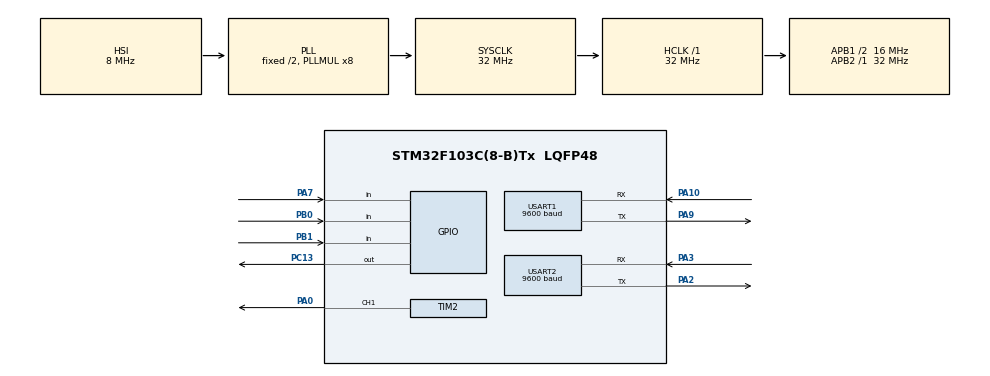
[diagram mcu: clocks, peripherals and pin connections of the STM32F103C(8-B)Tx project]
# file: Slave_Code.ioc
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Mcu.Family=STM32F1
Mcu.Name=STM32F103C(8-B)Tx
Mcu.Package=LQFP48
NVIC.PriorityGroup=NVIC_PRIORITYGROUP_4
NVIC.USART1_IRQn=true\:0\:0\:false\:false\:true\:true\:true
NVIC.USART2_IRQn=true\:0\:0\:false\:false\:true\:true\:true
PA0-WKUP.Signal=S_TIM2_CH1_ETR
PA10.Mode=Asynchronous
PA10.Signal=USART1_RX
PA13.Mode=Serial_Wire
PA13.Signal=SYS_JTMS-SWDIO
PA14.Mode=Serial_Wire
PA14.Signal=SYS_JTCK-SWCLK
PA2.Mode=Asynchronous
PA2.Signal=USART2_TX
PA3.Mode=Asynchronous
PA3.Signal=USART2_RX
PA7.GPIO_PuPd=GPIO_PULLDOWN
PA7.Signal=GPIO_Input
PA9.Mode=Asynchronous
PA9.Signal=USART1_TX
PB0.GPIO_PuPd=GPIO_PULLDOWN
PB0.Signal=GPIO_Input
PB1.GPIO_PuPd=GPIO_PULLDOWN
PB1.Signal=GPIO_Input
PC13-TAMPER-RTC.Signal=GPIO_Output
ProjectManager.HeapSize=0x200
ProjectManager.StackSize=0x400
ProjectManager.TargetToolchain=STM32CubeIDE
RCC.AHBFreq_Value=32000000
RCC.APB1CLKDivider=RCC_HCLK_DIV2
RCC.APB1Freq_Value=16000000
RCC.APB1TimFreq_Value=32000000
RCC.APB2Freq_Value=32000000
RCC.APB2TimFreq_Value=32000000
RCC.HCLKFreq_Value=32000000
RCC.PLLMUL=RCC_PLL_MUL8
RCC.SYSCLKFreq_VALUE=32000000
RCC.SYSCLKSource=RCC_SYSCLKSOURCE_PLLCLK
RCC.USBFreq_Value=32000000
SH.S_TIM2_CH1_ETR.0=TIM2_CH1,PWM Generation1 CH1
TIM1.Period=100
TIM1.Prescaler=32000
TIM2.Channel-PWM\ Generation1\ CH1=TIM_CHANNEL_1
TIM2.Period=455
TIM2.Prescaler=320
TIM2.Pulse-PWM\ Generation1\ CH1=225
USART1.BaudRate=9600
USART1.VirtualMode=VM_ASYNC
USART2.BaudRate=9600
USART2.VirtualMode=VM_ASYNC
VP_TIM1_VS_ClockSourceINT.Mode=Internal
VP_TIM2_VS_ClockSourceINT.Mode=Internal
board=custom

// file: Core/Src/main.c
/* USER CODE BEGIN Header */
/**
  ******************************************************************************
  * @file           : main.c
  * @brief          : Main program body
  ******************************************************************************
  * @attention
  *
  * <h2><center>&copy; Copyright (c) 2020 STMicroelectronics.
  * All rights reserved.</center></h2>
  *
  * This software component is licensed by ST under BSD 3-Clause license,
  * the "License"; You may not use this file except in compliance with the
  * License. You may obtain a copy of the License at:
  *                        opensource.org/licenses/BSD-3-Clause
  *
  ******************************************************************************
  */
/* USER CODE END Header */
#include "main.h"

/* USER CODE BEGIN PTD */
/**
  * @brief 	Struct used for separating screen and slave module.
  */
typedef struct {
	uint8_t msg_i;						/*!< Index for received messages 				*/

	uint8_t msg_flag;					/*!< Message flag to indicate a new message 	*/

	uint8_t rec_buff[MSG_MAX_LEN];		/*!< Buffer for the received message			*/

	UART_HandleTypeDef * used_huart;	/*!< Pointer to the UART struct the module uses */
}t_module;

/* USER CODE END PTD */

/* USER CODE BEGIN PD */

/** @defgroup Used_Peripherials Used Peripherals
  * @{
  */
#define MASTER_UART 				huart1			/*!< UART  peripheral connected to the master 				*/
#define SLAVE_UART 					huart2			/*!< UART  peripheral connected to the slaves 				*/
#define SPEAKER_TIM 				htim2			/*!< Timer peripheral for generating PWM to the speaker		*/
#define MSG_TIM 					htim1			/*!< Timer peripheral used for message timeout checking 	*/
/**
  * @}
  */

/** @defgroup Message_Defines Message Related Defines
  * @{
  */
#define MASTER_I 					0				/*!< The index for the master module 									*/
#define SLAVE_I 					1				/*!< The index for the slave  module 									*/
#define ACK_TIMEOUT 				500				/*!< How long the slave waits for an acknowledge from another slave		*/
#define CMD_MAX_LEN 				3				/*!< How many chars in the message buffer are reserved for the command  */
/**
  * @}
  */

/** @defgroup Button_GPIO Button GPIO Connections and Pins
  * @{
  */
#define BT_GPIO_1 					GPIOA			/*!< GPIO for button 1 */
#define BT_GPIO_2 					GPIOB			/*!< GPIO for button 2 */
#define BT_GPIO_3 					GPIOB			/*!< GPIO for button 3 */

#define BT_PIN_1 					GPIO_PIN_7		/*!< Pin for button 1 */
#define BT_PIN_2 					GPIO_PIN_0		/*!< Pin for button 2 */
#define BT_PIN_3 					GPIO_PIN_1		/*!< Pin for button 3 */
/**
  * @}
  */

/* USER CODE END PD */

TIM_HandleTypeDef htim1;
TIM_HandleTypeDef htim2;

UART_HandleTypeDef huart1;
UART_HandleTypeDef huart2;

void SystemClock_Config(void);
static void MX_GPIO_Init(void);
static void MX_USART1_UART_Init(void);
static void MX_USART2_UART_Init(void);
static void MX_TIM1_Init(void);
static void MX_TIM2_Init(void);

/* USER CODE BEGIN 0 */
/** @brief rx_buff contains the incoming char */
uint8_t rx_buff[1];
/** @brief flag that enables main */
uint8_t main_flag = 0;
/** @brief the address of this slave */
uint8_t slave_adr = 0;
/** @brief m_buff are the two buffers for screen/slave message handling*/
t_module m_buff[2];

/* USER CODE END 0 */

int main(void)
{

  /* MCU Configuration--------------------------------------------------------*/

  /* Reset of all peripherals, Initializes the Flash interface and the Systick. */
  HAL_Init();

  /* Configure the system clock */
  SystemClock_Config();

  /* Initialize all configured peripherals */
  MX_GPIO_Init();
  MX_USART1_UART_Init();
  MX_USART2_UART_Init();
  MX_TIM1_Init();
  MX_TIM2_Init();
  /* USER CODE BEGIN 2 */
  m_buff[MASTER_I].used_huart = &MASTER_UART;
  m_buff[SLAVE_I].used_huart  = &SLAVE_UART;

  HAL_UART_Receive_IT(&MASTER_UART, rx_buff, 1);
  HAL_UART_Receive_IT(&SLAVE_UART , rx_buff, 1);
  /* USER CODE END 2 */

  /* Infinite loop */
  while (1)
  {

    /* USER CODE BEGIN 3 */
	if(main_flag)
	{
		main_flag = 0;
		m_buff[MASTER_I].msg_flag = 0;
		/** <h2><center>Local Variables</h2></center> */
		/** <b>char reply</b>
				 Container for the reply message to the master.*/
		char reply[MSG_MAX_LEN];

		/** <b>char m_mess</b>
				 Container for messages to the next slave.*/
		char m_mess[MSG_MAX_LEN];

		/** <b>char cmd</b>
				 Container for the dissected command.*/
		char cmd[CMD_MAX_LEN+1];

		/** <b>char sec_adr</b>
				 Used to store the secondary address stored in some messages.*/
		char sec_adr;

		// Dissects the message that arrived from the master side.
		char adr = DissectCommand(cmd, &sec_adr);
		if(adr == 0)
		{
			/** <h2><center>Command Functions and Replies</h2></center> */
			/** <h3>Addressing Command</h3>
			 *  Format: 			<tt>0 ADR x</tt>\n
			 *  Forward to Slave: 	<tt>0 ADR x+1</tt>\n
			 *  Reply to Master:	<tt>SLAVE x</tt>, But only if Reply to Slave didn't receive ACK.\n
			 *  					Will copy the address specified in @c x into its own address buffer @c slave_adr.\n
			 *  					Will then send command with @c x+1 to the next slave.
			 *  					If an @c ACK isn't received in time, will reply to the master instead.\n
			 */
			if(strcmp(cmd, "ADR") == 0)
			{
				slave_adr = sec_adr;
				sprintf(m_mess, "0 ADR %d\n", slave_adr+1);
				if(SendMessage(SLAVE_I, m_mess) == 0)
				{
					sprintf(reply, "SLAVE %d\n", slave_adr);
					SendMessage(MASTER_I, reply);
				}
			}
			/** <h3>Turn On Command</h3>
			 *  Format:				<tt>0 ON n</tt>\n
			 *  Forward to Slave:	<tt>0 ON n</tt>\n
			 *  Reply to Master:	<tt>PRESSED x</tt> But only when the button is pressed.\n
			 *  					Will activate the buttons and if @c slave_adr is the same as @c n will activate buzzer.
			 *  					Always forwards the message to the next slave. Doesn't require ACK checking so uses HAL.\n
			 *  					Will deactivate if a message is received from the master, or send <tt>PRESSED x</tt>.\n
			 *
						 */
			else if(strcmp(cmd, "ON") == 0)
			{
				// Sends message over to the next slave
				sprintf(m_mess, "0 ON %d\n", sec_adr);
				HAL_UART_Transmit(&SLAVE_UART, (uint8_t* ) m_mess, strlen(m_mess), 100);

				// Activates the speaker PWM
				if(sec_adr == slave_adr)
					HAL_TIM_PWM_Start(&SPEAKER_TIM, TIM_CHANNEL_1);

				// Checks if the button is being pressed
				char pressed = 0;
				while(pressed == GPIO_PIN_RESET && main_flag == 0)
					pressed = CheckButton();

				// Waits until the button is released
				while(CheckButton());

				// Only check if the button has been pressed if no message has been received yet.
				// Uses Transmit instead of SendMessage because master communication doesn't need ACK
				if(pressed)
				{
					HAL_Delay(50);
					sprintf(reply, "PRESSED %d\n", slave_adr);
					HAL_UART_Transmit(&MASTER_UART, (uint8_t*) reply, strlen(reply), 100);
				}

				// Turn the speaker Off
				HAL_TIM_PWM_Stop(&SPEAKER_TIM, TIM_CHANNEL_1);
			}

			/** <h3>Turn Off Command</h3>
			 * 	Format:				<tt>0 OFF</tt>\n
			 * 	Forward to Slave:	<tt>0 OFF</tt>\n
			 * 	Reply to Master	:	None\n
			 * 						Will copy the message to the next slaves.
			 * 						Used as placeholder to turn off the slaves after the ON command has been sent.\n
			 *
			 */
			else if(strcmp(cmd, "OFF") == 0)
				SendMessage(SLAVE_I, "0 OFF\n");
		}
		else
		{
			/** <h3>Verify Connection Command</h3>
			 * 	Format:				<tt>x ASK</tt>\n
			 * 	Forward to Slave:	None\n
			 * 	Reply to Master :	<tt>ANS x</tt>\n
			 * 						Will reply to the master personally to verify the connection.\n
			 *
			 */
			if(strcmp((char*)cmd, "ASK") == 0)
			{
				sprintf(reply, "ANS %d\n", slave_adr);
				HAL_Delay(50); 					// The delay is because master doesn't always catch the message in time.
				SendMessage(MASTER_I, reply);
			}
		}

	}
  }
  /* USER CODE END 3 */
}

void SystemClock_Config(void)
{
  RCC_OscInitTypeDef RCC_OscInitStruct = {0};
  RCC_ClkInitTypeDef RCC_ClkInitStruct = {0};

  /** Initializes the RCC Oscillators according to the specified parameters
  * in the RCC_OscInitTypeDef structure.
  */
  RCC_OscInitStruct.OscillatorType = RCC_OSCILLATORTYPE_HSI;
  RCC_OscInitStruct.HSIState = RCC_HSI_ON;
  RCC_OscInitStruct.HSICalibrationValue = RCC_HSICALIBRATION_DEFAULT;
  RCC_OscInitStruct.PLL.PLLState = RCC_PLL_ON;
  RCC_OscInitStruct.PLL.PLLSource = RCC_PLLSOURCE_HSI_DIV2;
  RCC_OscInitStruct.PLL.PLLMUL = RCC_PLL_MUL8;
  if (HAL_RCC_OscConfig(&RCC_OscInitStruct) != HAL_OK)
  {
    Error_Handler();
  }
  /** Initializes the CPU, AHB and APB buses clocks
  */
  RCC_ClkInitStruct.ClockType = RCC_CLOCKTYPE_HCLK|RCC_CLOCKTYPE_SYSCLK
                              |RCC_CLOCKTYPE_PCLK1|RCC_CLOCKTYPE_PCLK2;
  RCC_ClkInitStruct.SYSCLKSource = RCC_SYSCLKSOURCE_PLLCLK;
  RCC_ClkInitStruct.AHBCLKDivider = RCC_SYSCLK_DIV1;
  RCC_ClkInitStruct.APB1CLKDivider = RCC_HCLK_DIV2;
  RCC_ClkInitStruct.APB2CLKDivider = RCC_HCLK_DIV1;

  if (HAL_RCC_ClockConfig(&RCC_ClkInitStruct, FLASH_LATENCY_1) != HAL_OK)
  {
    Error_Handler();
  }
}

static void MX_TIM1_Init(void)
{

  TIM_ClockConfigTypeDef sClockSourceConfig = {0};
  TIM_MasterConfigTypeDef sMasterConfig = {0};

  htim1.Instance = TIM1;
  htim1.Init.Prescaler = 32000;
  htim1.Init.CounterMode = TIM_COUNTERMODE_UP;
  htim1.Init.Period = 100;
  htim1.Init.ClockDivision = TIM_CLOCKDIVISION_DIV1;
  htim1.Init.RepetitionCounter = 0;
  htim1.Init.AutoReloadPreload = TIM_AUTORELOAD_PRELOAD_DISABLE;
  if (HAL_TIM_Base_Init(&htim1) != HAL_OK)
  {
    Error_Handler();
  }
  sClockSourceConfig.ClockSource = TIM_CLOCKSOURCE_INTERNAL;
  if (HAL_TIM_ConfigClockSource(&htim1, &sClockSourceConfig) != HAL_OK)
  {
    Error_Handler();
  }
  sMasterConfig.MasterOutputTrigger = TIM_TRGO_RESET;
  sMasterConfig.MasterSlaveMode = TIM_MASTERSLAVEMODE_DISABLE;
  if (HAL_TIMEx_MasterConfigSynchronization(&htim1, &sMasterConfig) != HAL_OK)
  {
    Error_Handler();
  }

}

static void MX_TIM2_Init(void)
{

  TIM_ClockConfigTypeDef sClockSourceConfig = {0};
  TIM_MasterConfigTypeDef sMasterConfig = {0};
  TIM_OC_InitTypeDef sConfigOC = {0};

  htim2.Instance = TIM2;
  htim2.Init.Prescaler = 320;
  htim2.Init.CounterMode = TIM_COUNTERMODE_UP;
  htim2.Init.Period = 455;
  htim2.Init.ClockDivision = TIM_CLOCKDIVISION_DIV1;
  htim2.Init.AutoReloadPreload = TIM_AUTORELOAD_PRELOAD_DISABLE;
  if (HAL_TIM_Base_Init(&htim2) != HAL_OK)
  {
    Error_Handler();
  }
  sClockSourceConfig.ClockSource = TIM_CLOCKSOURCE_INTERNAL;
  if (HAL_TIM_ConfigClockSource(&htim2, &sClockSourceConfig) != HAL_OK)
  {
    Error_Handler();
  }
  if (HAL_TIM_PWM_Init(&htim2) != HAL_OK)
  {
    Error_Handler();
  }
  sMasterConfig.MasterOutputTrigger = TIM_TRGO_RESET;
  sMasterConfig.MasterSlaveMode = TIM_MASTERSLAVEMODE_DISABLE;
  if (HAL_TIMEx_MasterConfigSynchronization(&htim2, &sMasterConfig) != HAL_OK)
  {
    Error_Handler();
  }
  sConfigOC.OCMode = TIM_OCMODE_PWM1;
  sConfigOC.Pulse = 225;
  sConfigOC.OCPolarity = TIM_OCPOLARITY_HIGH;
  sConfigOC.OCFastMode = TIM_OCFAST_DISABLE;
  if (HAL_TIM_PWM_ConfigChannel(&htim2, &sConfigOC, TIM_CHANNEL_1) != HAL_OK)
  {
    Error_Handler();
  }
  HAL_TIM_MspPostInit(&htim2);

}

static void MX_USART1_UART_Init(void)
{

  huart1.Instance = USART1;
  huart1.Init.BaudRate = 9600;
  huart1.Init.WordLength = UART_WORDLENGTH_8B;
  huart1.Init.StopBits = UART_STOPBITS_1;
  huart1.Init.Parity = UART_PARITY_NONE;
  huart1.Init.Mode = UART_MODE_TX_RX;
  huart1.Init.HwFlowCtl = UART_HWCONTROL_NONE;
  huart1.Init.OverSampling = UART_OVERSAMPLING_16;
  if (HAL_UART_Init(&huart1) != HAL_OK)
  {
    Error_Handler();
  }

}

static void MX_USART2_UART_Init(void)
{

  huart2.Instance = USART2;
  huart2.Init.BaudRate = 9600;
  huart2.Init.WordLength = UART_WORDLENGTH_8B;
  huart2.Init.StopBits = UART_STOPBITS_1;
  huart2.Init.Parity = UART_PARITY_NONE;
  huart2.Init.Mode = UART_MODE_TX_RX;
  huart2.Init.HwFlowCtl = UART_HWCONTROL_NONE;
  huart2.Init.OverSampling = UART_OVERSAMPLING_16;
  if (HAL_UART_Init(&huart2) != HAL_OK)
  {
    Error_Handler();
  }

}

static void MX_GPIO_Init(void)
{
  GPIO_InitTypeDef GPIO_InitStruct = {0};

  /* GPIO Ports Clock Enable */
  __HAL_RCC_GPIOC_CLK_ENABLE();
  __HAL_RCC_GPIOA_CLK_ENABLE();
  __HAL_RCC_GPIOB_CLK_ENABLE();

  /*Configure GPIO pin Output Level */
  HAL_GPIO_WritePin(GPIOC, GPIO_PIN_13, GPIO_PIN_RESET);

  /*Configure GPIO pin : PC13 */
  GPIO_InitStruct.Pin = GPIO_PIN_13;
  GPIO_InitStruct.Mode = GPIO_MODE_OUTPUT_PP;
  GPIO_InitStruct.Pull = GPIO_NOPULL;
  GPIO_InitStruct.Speed = GPIO_SPEED_FREQ_LOW;
  HAL_GPIO_Init(GPIOC, &GPIO_InitStruct);

  /*Configure GPIO pin : PA7 */
  GPIO_InitStruct.Pin = GPIO_PIN_7;
  GPIO_InitStruct.Mode = GPIO_MODE_INPUT;
  GPIO_InitStruct.Pull = GPIO_PULLDOWN;
  HAL_GPIO_Init(GPIOA, &GPIO_InitStruct);

  /*Configure GPIO pins : PB0 PB1 */
  GPIO_InitStruct.Pin = GPIO_PIN_0|GPIO_PIN_1;
  GPIO_InitStruct.Mode = GPIO_MODE_INPUT;
  GPIO_InitStruct.Pull = GPIO_PULLDOWN;
  HAL_GPIO_Init(GPIOB, &GPIO_InitStruct);

}

/* USER CODE BEGIN 4 */
/**
 * @fn void HAL_UART_RxCpltCallback(UART_HandleTypeDef*)
 * @brief Called when a character is received from a uart.
 * 		  This char is stored as an array of rx_buff, with an index of 1.
 * 		  Will put the char in the correct buffer and check if the message is complete.
 * 		  Will reactivate the uart after char is handled.
 * @pre	  UARTS are turned on and waiting for interrupt.
 * @post  Char is stored and UART called under interrupt again.
 * @param huart The huart that called the callback
 */
void HAL_UART_RxCpltCallback(UART_HandleTypeDef *huart)
{
	// Selects the correct module struct to copy the char into.
	// This is marked by "ix" which is index.
	uint8_t ix;
	if(huart == m_buff[MASTER_I].used_huart)
		ix = MASTER_I;

	else if(huart == m_buff[SLAVE_I].used_huart)
		ix = SLAVE_I;

	else
	{
		HAL_UART_Receive_IT(huart, rx_buff, 1);		// Always has to be called after finishing the callback
		return;
	}
	// Currently there exists a bug where the master sends out a null character after initializing.
	// This is used to capture and throw away said null character, while the bug still exists.
	if(rx_buff[0] == 0)
	{
		HAL_UART_Receive_IT(huart, rx_buff, 1);
		return;
	}

	// Used when message is out of sync with buffer size
	static uint8_t OOS_check = 0;
	if(OOS_check)
	{
		if(rx_buff[0] == '\n')
			OOS_check = 0;
	}

	// Places new byte into global array
	else if(m_buff[ix].msg_i < MSG_MAX_LEN)
	{
		// Once a new message has started, delete the old message
		if(m_buff[ix].msg_i == 0)
		{
			m_buff[ix].msg_flag = 0;
			memset(m_buff[ix].rec_buff, 0, sizeof(m_buff[ix].rec_buff));
		}

		// Copying of new byte
		m_buff[ix].rec_buff[m_buff[ix].msg_i] = rx_buff[0];

		// Check if message is complete
		if(rx_buff[0] == '\n')
		{
			// Resets the index of the message to the first value 0
			m_buff[ix].msg_i = 0;

			// Activates the message flag required by CheckTimeout if the message was an ack.
			// Doesn't activate the main flag however, as it is not a command that needs responding to.
			if(strcmp("ACK\n", (char *) m_buff[ix].rec_buff) == 0)
				m_buff[ix].msg_flag = 1;

			// If the master sent a message...
			else if(m_buff[ix].used_huart == &MASTER_UART)
			{
				// Returns an ACK
				HAL_UART_Transmit(huart, (uint8_t*)"ACK\n", 4, 100);

				// Gets the address out of the message
				int msg_adr = atoi((char *) m_buff[ix].rec_buff);

				// If the address of the message isn't 0 or equal to the slaves address, the message will be sent to the next slave.
				if(msg_adr != 0 && msg_adr != slave_adr)
					HAL_UART_Transmit(&SLAVE_UART, (uint8_t *) m_buff[ix].rec_buff, strlen( (char *) m_buff[ix].rec_buff), 100);

				else
				{
					m_buff[ix].msg_flag = 1;	// Used by CheckTimeout
					main_flag = 1;				// Used to answer commands in the main
				}
			}
			// If a slave sent the message, it will always go to the master side.
			else if(m_buff[ix].used_huart == &SLAVE_UART)
				HAL_UART_Transmit(&MASTER_UART, (uint8_t *) m_buff[ix].rec_buff, strlen( (char *) m_buff[ix].rec_buff), 100);
		}
		else
			m_buff[ix].msg_i++;		// Index for the message buffer
	}

	// Exception clause for handling messages larger than the dedicated buffer
	// Message will be discarded and the buffer won't be read
	else
	{
		m_buff[ix].msg_i = 0;
		if(rx_buff[0] != '\n')
			OOS_check = 1;
	}

	// Reads the next byte
	HAL_UART_Receive_IT(huart, rx_buff, 1);
}

/**
 * @fn char DissectCommand(char*, char*)
 * @brief 			DissectCommand takes the command as input (from the global buffer) and returns the address and command letters.
 * 					If the command contained a second address it will be written inside sec_adr.
 *
 * @pre 			A command targeted at this specific slave arrived from the master module side.
 * @post 			The message is dissected and its component parts stored in the relevant variables.
 * @param cmd		The address where the command letters will be stored once finished
 * @param sec_adr	The address where the second address will be stored if found.
 * @return			The address found at the start of the message.
 */
char DissectCommand(char * cmd, char * sec_adr)
{
	// Reads the global master message buffer and splits string up to three parts
	// These are the address, the command and the optional second address for advanced commands
	char * cmd_tok;

	// strtok splits the message for every time it encounters a used defined char.
	// In this case the user defined char is a space character, because all info in the message is split by spaces.
	char adr = atoi(strtok( (char *) m_buff[MASTER_I].rec_buff, " ") );	// Atoi returns the number at the start (address)
	cmd_tok = strtok(NULL, " ");										// Gets the letters of the command (cmd)
	*sec_adr = atoi(strtok(NULL, " ") );								// Gets the letters of the second address

	// To make sure string operations can be performed on the command, a 0 character is added to the end of it.
	// This does mean commands are now limited to 3 characters because this is now hard coded in here.
	sprintf(cmd, "%s", cmd_tok);
	cmd[CMD_MAX_LEN] = '\0';
	return adr;
}

/**
 * @fn char CheckTimeout(const char*, int, uint8_t)
 * @brief			Function will be called when a message is expected.
 * 					Used to verify the answer received from the specified module.
 * 					Also uses a timer to check for a timeout.
 * @pre 			Message has been sent that expects a reply
 * @post 			Answer has been received from the correct module and verified.
 * @param valid_ans The expected answer from the selected module.
 * @param timeout	The time the selected module has to answer. Uses increments of 100ms
 * @param ix		The index for the m_buff array, used to select the module.
 * @return			1 if correct reply received in time, 0 if not.
 */
char CheckTimeout(const char * valid_ans, int timeout, uint8_t ix)
{
	// Starts the timer for the timeout function.
	// Clears flag as a precaution
	HAL_TIM_Base_Start(&MSG_TIM);
	__HAL_TIM_CLEAR_FLAG(&MSG_TIM, TIM_FLAG_UPDATE);

	// Keeps a count of how many times the timer updated
	// This happens every 100ms and is defined by MSG_TIM settings
	int tim_cnt = 0;

	// When a message has been received "msg_flag" will be 1
	// This loop will count for "timeout" milliseconds
	while(m_buff[ix].msg_flag == 0 && tim_cnt < (int) ( (float) timeout/100) )
	{
		if(__HAL_TIM_GET_FLAG(&MSG_TIM, TIM_FLAG_UPDATE) )
		{
			tim_cnt++;
			__HAL_TIM_CLEAR_FLAG(&MSG_TIM, TIM_FLAG_UPDATE);
		}
	}

	// Stops the timer and resets the counter
	HAL_TIM_Base_Stop(	  &MSG_TIM	 );
	__HAL_TIM_SET_COUNTER(&MSG_TIM, 0);

	// Reads the incoming message (if received), and compares it to the expected answer
	if(m_buff[ix].msg_flag)
	{
		m_buff[ix].msg_flag = 0;	// To prevent reading the same message multiple times.

		// Some commands expect an unknown number (i.e. how many slaves are active)
		// So this command only checks if the received message CONTAINS the correct answer.
		// To make sure it checks the message verbatim, add a \n to the end of the expected answer.
		if(strstr(valid_ans, (char *) m_buff[ix].rec_buff) != NULL)
			return 1;
	}

	// if the earlier return statement didn't fire, return 0, indicating either a timeout or a wrong answer
	return 0;

}

/**
 * @fn char SendMessage(uint8_t, const char*)
 * @brief 		Sends a message to the slaves and waits for an acknowledge.
 *
 * @pre 		none
 * @post 		Message has been sent
 * @param ix	The index indicating which module to send the message to. (Defined as MASTER_I or SLAVE_I)
 * @param msg	The message to send to the selected module.
 * @return		Returns 1 if ACK received, 0 if not.
 */
char SendMessage(uint8_t ix, const char * msg)
{
	// Every message sent to other slaves requires "ACK\n" as an answer.
	HAL_UART_Transmit(m_buff[ix].used_huart, (uint8_t *) msg, strlen(msg), 100);
	return (CheckTimeout("ACK\n", ACK_TIMEOUT, ix));
}

/**
 * @fn char CheckButton()
 * @brief 	Checks each pin connected to the button.
 * 			The defines for this are messy, as the pins are placed on GPIOA and GPIOB.
 * @pre 	The "ON" message was received.
 * @post 	The button is either pressed or not pressed.
 * @return	Non-zero if pressed. Zero if not.
 */
char CheckButton()
{
	char pressed = 0;
	pressed = HAL_GPIO_ReadPin(BT_GPIO_1, BT_PIN_1);
	pressed += HAL_GPIO_ReadPin(BT_GPIO_2, BT_PIN_2);
	pressed += HAL_GPIO_ReadPin(BT_GPIO_3, BT_PIN_3);
	return pressed;
}

/* USER CODE END 4 */

void Error_Handler(void)
{
}

/************************ (C) COPYRIGHT STMicroelectronics *****END OF FILE****/
